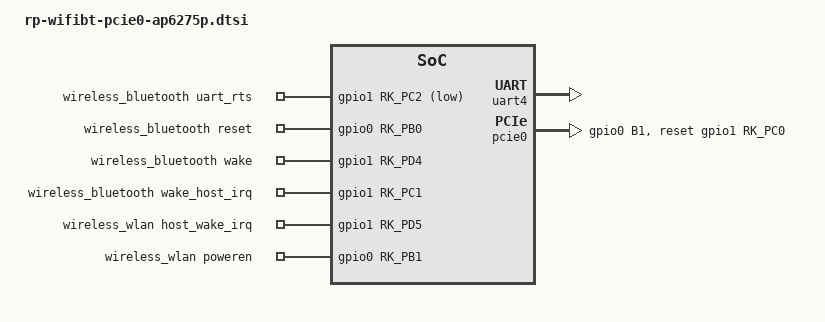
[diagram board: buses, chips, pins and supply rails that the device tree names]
/{    
    wireless_bluetooth: wireless-bluetooth {
        compatible = "bluetooth-platdata";
        uart_rts_gpios = <&gpio1 RK_PC2 GPIO_ACTIVE_LOW>;
        pinctrl-names = "default", "rts_gpio";
        pinctrl-0 = <&uart4m1_rtsn>;
        pinctrl-1 = <&uart4_gpios>;
        BT,reset_gpio    = <&gpio0 RK_PB0 GPIO_ACTIVE_HIGH>;
        BT,wake_gpio     = <&gpio1 RK_PD4 GPIO_ACTIVE_HIGH>;
        BT,wake_host_irq = <&gpio1 RK_PC1 GPIO_ACTIVE_HIGH>;
        clocks = <&hym8563>;
        clock-names = "ext_clock";
        status = "okay";
    };

    wireless_wlan: wireless-wlan {
        compatible = "wlan-platdata";
        wifi_chip_type = "ap6275p";
        pinctrl-names = "default";
        pinctrl-0 = <&wifi_host_wake_irq>;
        WIFI,host_wake_irq = <&gpio1 RK_PD5 GPIO_ACTIVE_HIGH>;
        WIFI,poweren_gpio = <&gpio0 RK_PB1 GPIO_ACTIVE_HIGH>;
        status = "okay";
    };
    
    sdio_pwrseq: sdio-pwrseq {
        compatible = "mmc-pwrseq-simple";
        pinctrl-names = "default";
        pinctrl-0 = <&wifi_poweren_gpio>;

        /*
         * On the module itself this is one of these (depending
         * on the actual card populated):
         * - SDIO_RESET_L_WL_REG_ON
         * - PDN (power down when low)
         */
        post-power-on-delay-ms = <200>;
        reset-gpios = <&gpio1 RK_PC6 GPIO_ACTIVE_LOW>;
        status = "disabled";
    };
};

&sdio {
    max-frequency = <200000000>;
    no-sd;
    no-mmc;
    bus-width = <4>;
    disable-wp;
    cap-sd-highspeed;
    cap-sdio-irq;
    keep-power-in-suspend;
    mmc-pwrseq = <&sdio_pwrseq>;
    non-removable;
    pinctrl-names = "default";
    pinctrl-0 = <&sdmmc1m0_bus4 &sdmmc1m0_clk &sdmmc1m0_cmd>;
    sd-uhs-sdr104;
    status = "disabled";
};

&uart4 {
    status = "okay";
    pinctrl-names = "default";
    pinctrl-0 = <&uart4m1_xfer &uart4m1_ctsn>;
};

&pcie0 {
    reset-gpios = <&gpio1 RK_PC0 GPIO_ACTIVE_HIGH>;
    rockchip,skip-scan-in-resume;
    pinctrl-names = "default";
    pinctrl-0 = <&wifi_poweren_gpio>;
    status = "okay";
};

&pinctrl {
    wireless-bluetooth {
        uart4_gpios: uart4-gpios {
            rockchip,pins = <1 RK_PC2 RK_FUNC_GPIO &pcfg_pull_none>;
        };
    };

    wireless-wlan {
        wifi_host_wake_irq: wifi-host-wake-irq {
            rockchip,pins = <1 RK_PD5 RK_FUNC_GPIO &pcfg_pull_down>;
        };

        wifi_poweren_gpio: wifi-poweren-gpio {
            rockchip,pins = <0 RK_PB1 RK_FUNC_GPIO &pcfg_pull_up>;
        };
    };
};
